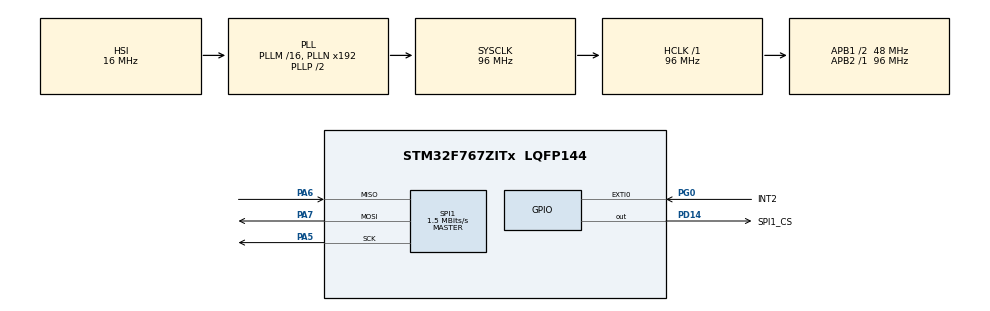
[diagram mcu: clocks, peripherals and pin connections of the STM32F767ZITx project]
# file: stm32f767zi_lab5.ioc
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Mcu.Family=STM32F7
Mcu.Name=STM32F767ZITx
Mcu.Package=LQFP144
NVIC.EXTI0_IRQn=true\:0\:0\:false\:false\:true\:true\:true\:true
NVIC.PriorityGroup=NVIC_PRIORITYGROUP_4
PA5.Mode=Full_Duplex_Master
PA5.Signal=SPI1_SCK
PA6.Mode=Full_Duplex_Master
PA6.Signal=SPI1_MISO
PA7.Mode=Full_Duplex_Master
PA7.Signal=SPI1_MOSI
PD14.GPIO_Label=SPI1_CS
PD14.Signal=GPIO_Output
PG0.GPIO_Label=INT2
PG0.GPIO_PuPd=GPIO_PULLDOWN
PG0.Signal=GPXTI0
ProjectManager.HeapSize=0x200
ProjectManager.StackSize=0x400
ProjectManager.TargetToolchain=STM32CubeIDE
RCC.AHBFreq_Value=96000000
RCC.APB1CLKDivider=RCC_HCLK_DIV2
RCC.APB1Freq_Value=48000000
RCC.APB1TimFreq_Value=96000000
RCC.APB2Freq_Value=96000000
RCC.APB2TimCLKDivider=2
RCC.APB2TimFreq_Value=192000000
RCC.CortexFreq_Value=96000000
RCC.HCLKFreq_Value=96000000
RCC.HSE_VALUE=25000000
RCC.HSI_VALUE=16000000
RCC.LSE_VALUE=32768
RCC.SYSCLKFreq_VALUE=96000000
RCC.SYSCLKSource=RCC_SYSCLKSOURCE_PLLCLK
RCC.USBFreq_Value=96000000
RCC.VCOOutputFreq_Value=192000000
SPI1.BaudRatePrescaler=SPI_BAUDRATEPRESCALER_64
SPI1.CLKPhase=SPI_PHASE_2EDGE
SPI1.CLKPolarity=SPI_POLARITY_HIGH
SPI1.CalculateBaudRate=1.5 MBits/s
SPI1.DataSize=SPI_DATASIZE_8BIT
SPI1.Direction=SPI_DIRECTION_2LINES
SPI1.Mode=SPI_MODE_MASTER
SPI1.VirtualType=VM_MASTER
board=custom

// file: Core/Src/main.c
/* USER CODE BEGIN Header */
/**
  ******************************************************************************
  * @file           : main.c
  * @brief          : Main program body
  ******************************************************************************
  * @attention
  *
  * Copyright (c) 2024 STMicroelectronics.
  * All rights reserved.
  *
  * This software is licensed under terms that can be found in the LICENSE file
  * in the root directory of this software component.
  * If no LICENSE file comes with this software, it is provided AS-IS.
  *
  ******************************************************************************
  */
/* USER CODE END Header */
#include "main.h"

/* USER CODE BEGIN Includes */
#include "ADXL.h"
/* USER CODE END Includes */

/* USER CODE BEGIN PD */
#define TAP_AXES 0x2A
#define ACT_TAP_STATUS 0x2B
/* USER CODE END PD */

SPI_HandleTypeDef hspi1;

/* USER CODE BEGIN PV */
uint8_t data_rec[6];
int16_t x,y,z;
float xg, yg, zg;
uint8_t rec[3];
uint8_t tap = 0;
/* USER CODE END PV */

void SystemClock_Config(void);
static void MX_GPIO_Init(void);
static void MX_SPI1_Init(void);

/* USER CODE BEGIN 0 */
void adxl_write (uint8_t address, uint8_t value)
{
	uint8_t data[2];
	data[0] = address|0x40; // multibyte write
	data[1] = value;
	HAL_GPIO_WritePin (SPI1_CS_GPIO_Port, SPI1_CS_Pin, GPIO_PIN_RESET); // pull the cs pin low
	HAL_SPI_Transmit (&hspi1, data, 2, 100); // write data to register
	HAL_GPIO_WritePin (SPI1_CS_GPIO_Port, SPI1_CS_Pin, GPIO_PIN_SET); // pull the cs pin high
}

void adxl_read (uint8_t address)
{
	address |= 0x80; // read operation
	address |= 0x40; // multibyte read
	//uint8_t rec;
	HAL_GPIO_WritePin (SPI1_CS_GPIO_Port, SPI1_CS_Pin, GPIO_PIN_RESET); // pull the pin low
	HAL_SPI_Transmit (&hspi1, &address, 1, 100); // send address
	HAL_SPI_Receive (&hspi1, data_rec, 6, 100); // receive 6 bytes data
	HAL_GPIO_WritePin (SPI1_CS_GPIO_Port, SPI1_CS_Pin, GPIO_PIN_SET); // pull the pin high
}

void adxl_init (void)
{
	adxl_write (0x2d, 0x00); // reset all bits
	adxl_write (0x2d, 0x08); // power_cntl measure
	adxl_write (0x31, 0x01); // data_format range= +- 4g
}

void adxl_read_1byte (uint8_t address)
{
	address |= 0x80; // read operation
	address |= 0x40; // multibyte read
	HAL_GPIO_WritePin (SPI1_CS_GPIO_Port, SPI1_CS_Pin, GPIO_PIN_RESET); // pull the pin low
	HAL_SPI_Transmit (&hspi1, &address, 1, 100); // send address
	HAL_SPI_Receive (&hspi1, rec, 1, 100); // receive 1 byte data
	HAL_GPIO_WritePin (SPI1_CS_GPIO_Port, SPI1_CS_Pin, GPIO_PIN_SET); // pull the pin high
}

void HAL_GPIO_EXTI_Callback(uint16_t GPIO_Pin)
{
	if (GPIO_Pin == INT2_Pin)
	{
		tap = !tap;
		adxl_read_1byte (0x30);
		ADXL_disableSingleTap();
		ADXL_enableSingleTap(INT2, X_axes, 100, 20);
		//readRegister (0x30, &rec, 1);
		//adxl_read(0x30);
	}
}
/* USER CODE END 0 */

int main(void)
{

  /* MCU Configuration--------------------------------------------------------*/

  /* Reset of all peripherals, Initializes the Flash interface and the Systick. */
  HAL_Init();

  /* Configure the system clock */
  SystemClock_Config();

  /* Initialize all configured peripherals */
  MX_GPIO_Init();
  MX_SPI1_Init();
  /* USER CODE BEGIN 2 */
  adxl_init(); // initialise adxl
  //ADXL_Init(&ADXL);
  adxl_read (0x00); // who i am
  ADXL_enableSingleTap(INT2, X_axes, 100, 20);
//  adxl_write(TAP_AXES, 0x5);// enable TAP_X
//  adxl_write(0x1D, 1);//threshhold of tap
  adxl_write(0x2E, 0x40);
  /* USER CODE END 2 */

  /* Infinite loop */
  while (1)
  {

    /* USER CODE BEGIN 3 */
	  adxl_read (0x32);
	  x = ((data_rec[1]<<8)|data_rec[0]);
	  y = ((data_rec[3]<<8)|data_rec[2]);
	  z = ((data_rec[5]<<8)|data_rec[4]);
	  xg = x*100/128;
	  yg = y*100/128;
	  zg = z*100/128;
//	  adxl_read_1byte(0x2B);
//	  if (rec[0] != 0)
//	  {
//		  tap = 1;
//	  }
//	  x = data_rec[0]&&0b001;
//	  z = data_rec[0]&&0b100;
	  HAL_Delay(200);
  }
  /* USER CODE END 3 */
}

void SystemClock_Config(void)
{
  RCC_OscInitTypeDef RCC_OscInitStruct = {0};
  RCC_ClkInitTypeDef RCC_ClkInitStruct = {0};

  /** Configure the main internal regulator output voltage
  */
  __HAL_RCC_PWR_CLK_ENABLE();
  __HAL_PWR_VOLTAGESCALING_CONFIG(PWR_REGULATOR_VOLTAGE_SCALE3);

  /** Initializes the RCC Oscillators according to the specified parameters
  * in the RCC_OscInitTypeDef structure.
  */
  RCC_OscInitStruct.OscillatorType = RCC_OSCILLATORTYPE_HSI;
  RCC_OscInitStruct.HSIState = RCC_HSI_ON;
  RCC_OscInitStruct.HSICalibrationValue = RCC_HSICALIBRATION_DEFAULT;
  RCC_OscInitStruct.PLL.PLLState = RCC_PLL_ON;
  RCC_OscInitStruct.PLL.PLLSource = RCC_PLLSOURCE_HSI;
  RCC_OscInitStruct.PLL.PLLM = 16;
  RCC_OscInitStruct.PLL.PLLN = 192;
  RCC_OscInitStruct.PLL.PLLP = RCC_PLLP_DIV2;
  RCC_OscInitStruct.PLL.PLLQ = 2;
  RCC_OscInitStruct.PLL.PLLR = 2;
  if (HAL_RCC_OscConfig(&RCC_OscInitStruct) != HAL_OK)
  {
    Error_Handler();
  }

  /** Activate the Over-Drive mode
  */
  if (HAL_PWREx_EnableOverDrive() != HAL_OK)
  {
    Error_Handler();
  }

  /** Initializes the CPU, AHB and APB buses clocks
  */
  RCC_ClkInitStruct.ClockType = RCC_CLOCKTYPE_HCLK|RCC_CLOCKTYPE_SYSCLK
                              |RCC_CLOCKTYPE_PCLK1|RCC_CLOCKTYPE_PCLK2;
  RCC_ClkInitStruct.SYSCLKSource = RCC_SYSCLKSOURCE_PLLCLK;
  RCC_ClkInitStruct.AHBCLKDivider = RCC_SYSCLK_DIV1;
  RCC_ClkInitStruct.APB1CLKDivider = RCC_HCLK_DIV2;
  RCC_ClkInitStruct.APB2CLKDivider = RCC_HCLK_DIV1;

  if (HAL_RCC_ClockConfig(&RCC_ClkInitStruct, FLASH_LATENCY_3) != HAL_OK)
  {
    Error_Handler();
  }
}

static void MX_SPI1_Init(void)
{

  /* SPI1 parameter configuration*/
  hspi1.Instance = SPI1;
  hspi1.Init.Mode = SPI_MODE_MASTER;
  hspi1.Init.Direction = SPI_DIRECTION_2LINES;
  hspi1.Init.DataSize = SPI_DATASIZE_8BIT;
  hspi1.Init.CLKPolarity = SPI_POLARITY_HIGH;
  hspi1.Init.CLKPhase = SPI_PHASE_2EDGE;
  hspi1.Init.NSS = SPI_NSS_SOFT;
  hspi1.Init.BaudRatePrescaler = SPI_BAUDRATEPRESCALER_64;
  hspi1.Init.FirstBit = SPI_FIRSTBIT_MSB;
  hspi1.Init.TIMode = SPI_TIMODE_DISABLE;
  hspi1.Init.CRCCalculation = SPI_CRCCALCULATION_DISABLE;
  hspi1.Init.CRCPolynomial = 7;
  hspi1.Init.CRCLength = SPI_CRC_LENGTH_DATASIZE;
  hspi1.Init.NSSPMode = SPI_NSS_PULSE_DISABLE;
  if (HAL_SPI_Init(&hspi1) != HAL_OK)
  {
    Error_Handler();
  }

}

static void MX_GPIO_Init(void)
{
  GPIO_InitTypeDef GPIO_InitStruct = {0};

  /* GPIO Ports Clock Enable */
  __HAL_RCC_GPIOA_CLK_ENABLE();
  __HAL_RCC_GPIOG_CLK_ENABLE();
  __HAL_RCC_GPIOD_CLK_ENABLE();

  /*Configure GPIO pin Output Level */
  HAL_GPIO_WritePin(SPI1_CS_GPIO_Port, SPI1_CS_Pin, GPIO_PIN_RESET);

  /*Configure GPIO pin : INT2_Pin */
  GPIO_InitStruct.Pin = INT2_Pin;
  GPIO_InitStruct.Mode = GPIO_MODE_IT_RISING;
  GPIO_InitStruct.Pull = GPIO_PULLDOWN;
  HAL_GPIO_Init(INT2_GPIO_Port, &GPIO_InitStruct);

  /*Configure GPIO pin : SPI1_CS_Pin */
  GPIO_InitStruct.Pin = SPI1_CS_Pin;
  GPIO_InitStruct.Mode = GPIO_MODE_OUTPUT_PP;
  GPIO_InitStruct.Pull = GPIO_NOPULL;
  GPIO_InitStruct.Speed = GPIO_SPEED_FREQ_LOW;
  HAL_GPIO_Init(SPI1_CS_GPIO_Port, &GPIO_InitStruct);

  /* EXTI interrupt init*/
  HAL_NVIC_SetPriority(EXTI0_IRQn, 0, 0);
  HAL_NVIC_EnableIRQ(EXTI0_IRQn);

}

void Error_Handler(void)
{
  __disable_irq();
  while (1)
  {
  }
}
